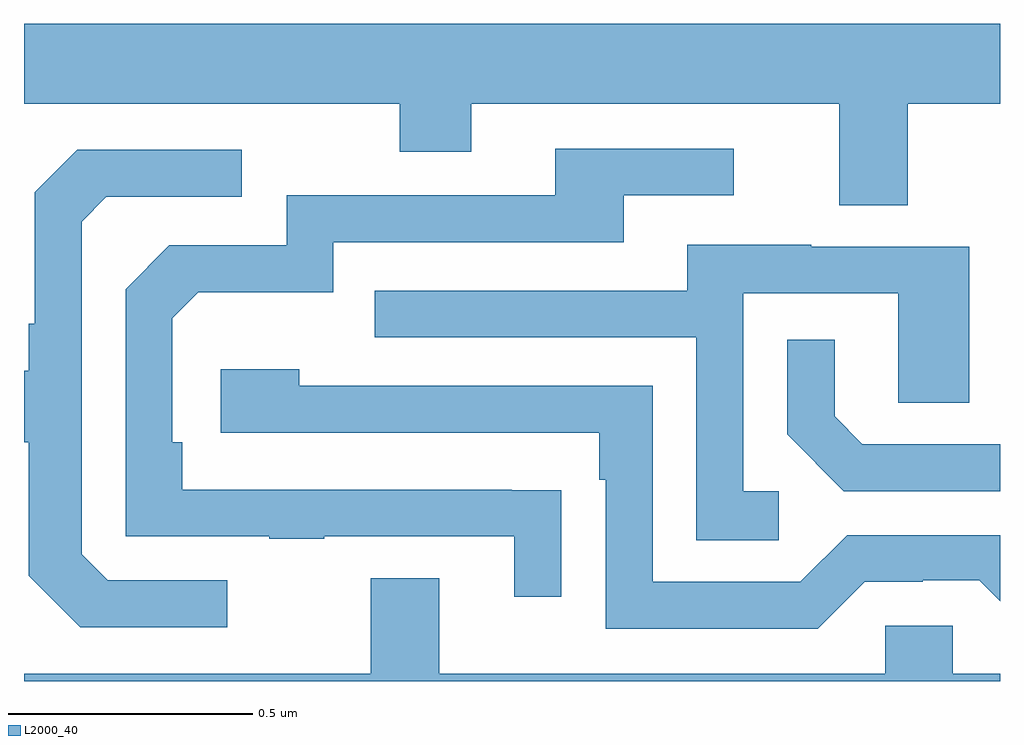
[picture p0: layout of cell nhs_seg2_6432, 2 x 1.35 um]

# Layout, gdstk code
import gdstk
lib = gdstk.Library(unit=1e-6, precision=1e-09)
def P(c, l, *ps):  # polygons
    for p in ps: c.add(gdstk.Polygon(p, *l))
L2000_40 = (2000, 40)

nhs_seg2_6432 = lib.new_cell('nhs_seg2_6432')
P(nhs_seg2_6432, L2000_40, [(192.811,632.984),(193,632.984),(193,633.148),(191,633.148),(191,632.984),(191.77,632.984),(191.77,632.885),(191.917,632.885),(191.917,632.984),(192.671,632.984),(192.671,632.776),(192.811,632.776)],
  [(192.101,632.192),(191.999,632.192),(191.999,632.193),(191.324,632.193),(191.324,632.29),(191.304,632.29),(191.304,632.544),(191.357,632.597),(191.634,632.597),(191.634,632.7),(192.229,632.7),(192.229,632.796),(192.454,632.796),(192.454,632.892),(192.089,632.892),(192.089,632.796),(191.538,632.796),(191.538,632.694),(191.298,632.694),(191.208,632.604),(191.208,632.097),(191.503,632.097),(191.503,632.092),(191.615,632.092),(191.615,632.097),(192.005,632.097),(192.005,631.974),(192.101,631.974)],
  [(191.416,632.007),(191.172,632.007),(191.118,632.061),(191.118,632.742),(191.169,632.793),(191.446,632.793),(191.446,632.889),(191.109,632.889),(191.022,632.802),(191.022,632.533),(191.01,632.533),(191.01,632.437),(191,632.437),(191,632.29),(191.01,632.29),(191.01,632.017),(191.115,631.911),(191.416,631.911)],
  [(192.547,632.19),(192.474,632.19),(192.474,632.595),(192.792,632.595),(192.792,632.371),(192.937,632.371),(192.937,632.691),(192.613,632.691),(192.613,632.695),(192.359,632.695),(192.359,632.601),(191.719,632.601),(191.719,632.505),(192.378,632.505),(192.378,632.089),(192.547,632.089)],
  [(193,632.286),(192.718,632.286),(192.661,632.343),(192.661,632.5),(192.564,632.5),(192.564,632.306),(192.68,632.19),(193,632.19)],
  [(192.723,632.004),(192.842,632.004),(192.842,632.007),(192.957,632.007),(193,631.964),(193,632.1),(192.687,632.1),(192.591,632.004),(192.288,632.004),(192.288,632.406),(191.564,632.406),(191.564,632.44),(191.403,632.44),(191.403,632.31),(192.179,632.31),(192.179,632.213),(192.192,632.213),(192.192,631.908),(192.627,631.908)],
  [(193,631.816),(192.903,631.816),(192.903,631.914),(192.765,631.914),(192.765,631.816),(191.851,631.816),(191.851,632.011),(191.711,632.011),(191.711,631.816),(191,631.816),(191,631.8),(193,631.8)])

lib.write_gds('nhs_seg2_6432.gds')
